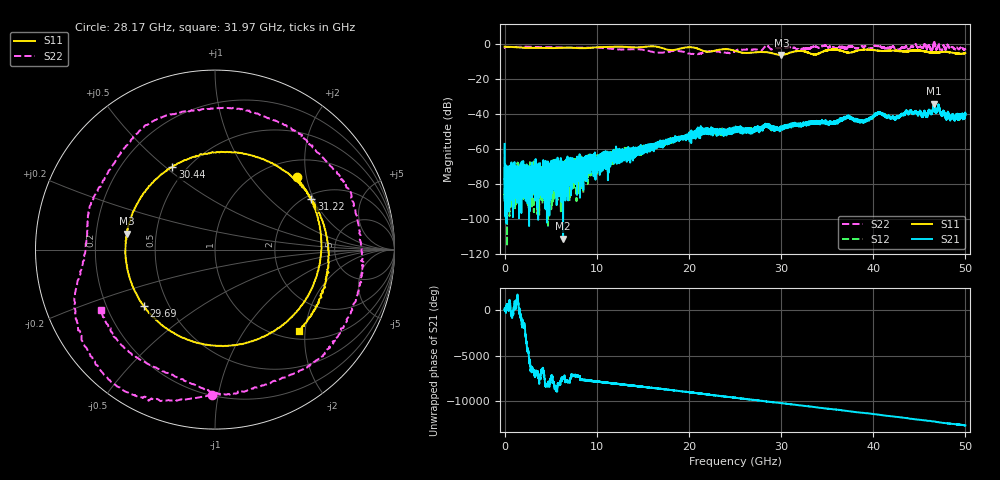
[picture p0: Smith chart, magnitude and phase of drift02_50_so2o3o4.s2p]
!Created with skrf (http://scikit-rf.org).
# Hz S RI R 50.0
!freq ReS11 ImS11 ReS21 ImS21 ReS12 ImS12 ReS22 ImS22
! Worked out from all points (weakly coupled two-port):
!   10001 points, 300 kHz to 50 GHz, reference 50 ohm
!   highest |S21| = -33.93 dB at 46.6 GHz (marker M1); lowest = -111.3 dB at 6.345 GHz (marker M2)
!   lowest |S11| = -6.1 dB at 30.05 GHz (marker M3), VSWR 2.97, Z = 16.9 + j3.99 ohm
!   |S11| at or under -10 dB: nowhere
!   |S22| runs from -5.7 to 2.3 dB; largest |S21 - S12| = 0.0032
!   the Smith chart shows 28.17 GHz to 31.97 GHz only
!   S11 on the Smith chart (normalised r, x): 28.17 GHz: 1.38, +1.75; 29.69 GHz: 0.36, -0.31; 30.44 GHz: 0.42, +0.53; 31.22 GHz: 2.14, +1.92; 31.97 GHz: 1.17, -1.85
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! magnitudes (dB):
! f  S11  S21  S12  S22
! 300 kHz  -1.3  -57.0  -58.7  -2.0
! 255.3 MHz  -1.4  -81.8  -79.3  -1.4
! 470.3 MHz  -1.4  -89.7  -80.4  -1.5
! 6.345 GHz  -1.9  -111.3  -84.7  -1.8
! 8.335 GHz  -2.2  -67.8  -64.2  -1.9
! 16.67 GHz  -1.5  -56.6  -56.7  -4.7
! 21.65 GHz  -3.8  -48.8  -50.4  -4.7
! 25 GHz  -3.7  -49.3  -49.9  -3.9
! 28.17 GHz  -4.3  -46.3  -46.7  -1.8
! 29.69 GHz  -5.9  -48.4  -48.5  -2.1
! 30.05 GHz  -6.1  -48.0  -48.6  -2.0
! 30.44 GHz  -5.7  -47.5  -47.2  -1.8
! 31.22 GHz  -4.3  -46.5  -46.1  -1.8
! 31.97 GHz  -3.7  -47.1  -45.9  -2.8
! 33.34 GHz  -5.5  -44.2  -45.1  -1.6
! 37.27 GHz  -4.7  -41.0  -41.6  -1.2
! 38.86 GHz  -3.1  -44.6  -44.3  -1.2
! 40.61 GHz  -3.6  -39.1  -39.2  -1.0
! 41.67 GHz  -3.7  -40.6  -41.1  -1.9
! 46.6 GHz  -4.7  -33.9  -34.3  1.8
! 48.52 GHz  -4.6  -41.4  -40.7  -1.5
! 50 GHz  -4.9  -39.9  -39.9  -2.6
